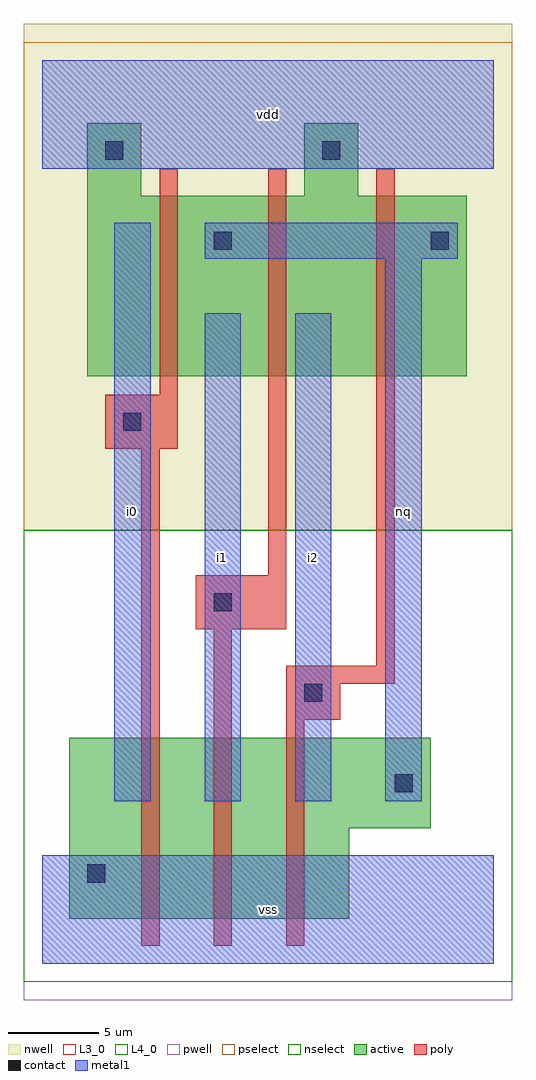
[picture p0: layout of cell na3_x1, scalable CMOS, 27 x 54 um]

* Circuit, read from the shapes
.subckt na3_x1 i0 i1 i2 nq vdd vss
M1 n1 i0 vss VSUBS nfet w=10u l=1u
M2 n2 i1 n1 VSUBS nfet w=10u l=1u
M3 nq i2 n2 VSUBS nfet w=10u l=1u
M4 nq i0 vdd n3 pfet w=10u l=1u
M5 vdd i1 nq n3 pfet w=10u l=1u
M6 nq i2 vdd n3 pfet w=10u l=1u
.ends

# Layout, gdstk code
import gdstk
lib = gdstk.Library(unit=1e-6, precision=1e-09)
def R(c, l, rs):  # rectangles x0, y0, x1, y1
    for r in rs: c.add(gdstk.rectangle(r[:2], r[2:], *l))
L3_0 = (3, 0)
L4_0 = (4, 0)
contact = (25, 0)
pwell = (41, 0)
nwell = (42, 0)
active = (43, 0)
pselect = (44, 0)
nselect = (45, 0)
poly = (46, 0)
metal1 = (49, 0)

na3_x1 = lib.new_cell('na3_x1')
R(na3_x1, L3_0, [(1.5,2.5,17,7.5), (1.5,7.5,21.5,12.5)])
R(na3_x1, L4_0, [(2.5,32.5,23.5,42.5), (2.5,42.5,5.5,46.5), (14.5,42.5,17.5,46.5)])
R(na3_x1, contact, [(2.5,4.5,3.5,5.5), (19.5,9.5,20.5,10.5), (14.5,14.5,15.5,15.5), (9.5,19.5,10.5,20.5), (4.5,29.5,5.5,30.5), (9.5,39.5,10.5,40.5), (21.5,39.5,22.5,40.5), (3.5,44.5,4.5,45.5), (15.5,44.5,16.5,45.5)])
R(na3_x1, pwell, [(-1,-2,26,24)])
R(na3_x1, nwell, [(-1,24,26,52)])
R(na3_x1, active, [(1.5,2.5,17,7.5), (1.5,7.5,21.5,12.5), (2.5,32.5,23.5,42.5), (2.5,42.5,5.5,46.5), (14.5,42.5,17.5,46.5)])
R(na3_x1, pselect, [(-1,24,26,51)])
R(na3_x1, nselect, [(-1,-1,26,24)])
R(na3_x1, poly, [(5.5,1,6.5,28.5), (9.5,1,10.5,18.5), (13.5,1,14.5,13.5), (13.5,13.5,16.5,15.5), (13.5,15.5,19.5,16.5), (18.5,16.5,19.5,44), (8.5,18.5,13.5,21.5), (12.5,21.5,13.5,44), (3.5,28.5,7.5,31.5), (6.5,31.5,7.5,44)])
R(na3_x1, metal1, [(0,0,25,6), (4,9,6,41), (9,9,11,36), (14,9,16,36), (19,9,21,39), (9,39,23,41), (0,44,25,50)])
na3_x1.add(gdstk.Label('i1', (10,22.5), layer=49, texttype=0))
na3_x1.add(gdstk.Label('i0', (5,25), layer=49, texttype=0))
na3_x1.add(gdstk.Label('vss', (12.5,3), layer=49, texttype=0))
na3_x1.add(gdstk.Label('i2', (15,22.5), layer=49, texttype=0))
na3_x1.add(gdstk.Label('vdd', (12.5,47), layer=49, texttype=0))
na3_x1.add(gdstk.Label('nq', (20,25), layer=49, texttype=0))

lib.write_gds('na3_x1.gds')
